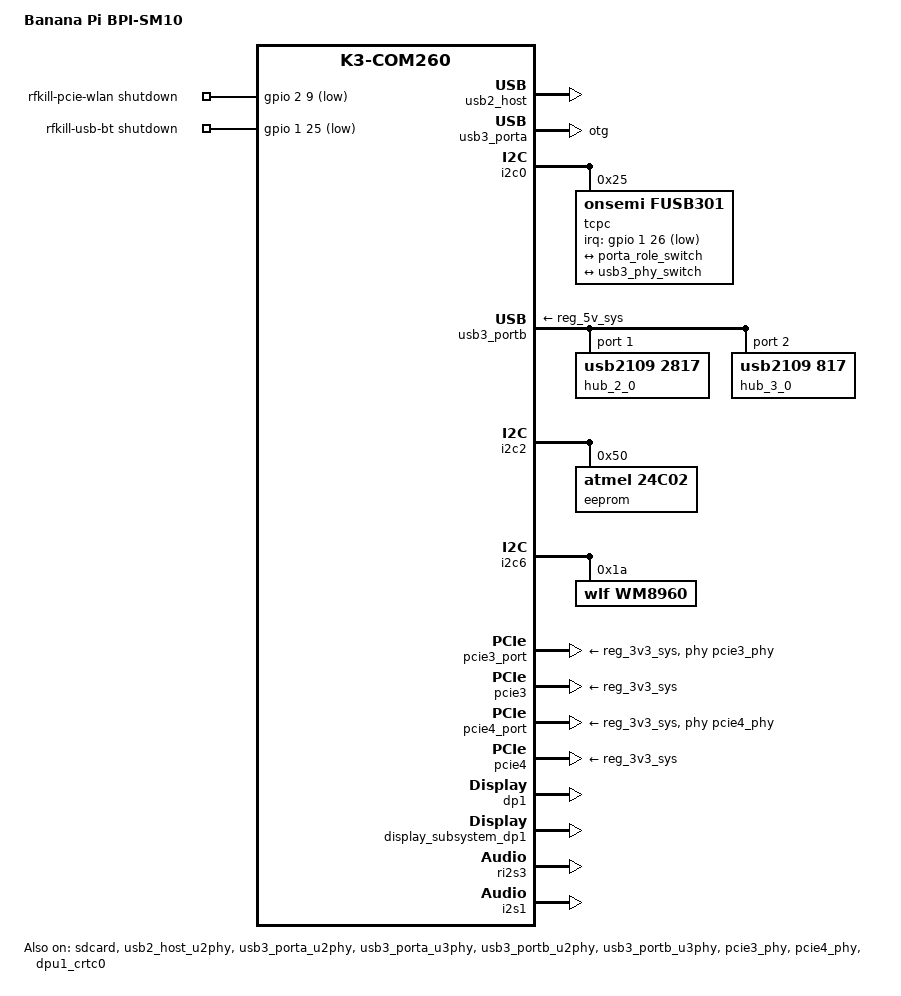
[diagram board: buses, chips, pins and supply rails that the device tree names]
// SPDX-License-Identifier: (GPL-2.0 OR MIT)
/*
 * Banana Pi BPI-SM10: K3-CoM260 module on the CoM260 kit V02 reference carrier.
 * Based on the SpacemiT linux-6.18 BSP k3_com260_kit_v02.dts.
 */

#include "k3-com260.dtsi"

/ {
	model = "Banana Pi BPI-SM10";
	compatible = "bananapi,bpi-sm10", "spacemit,k3-com260", "spacemit,k3";

	aliases {
		ethernet0 = &eth1;
		serial0 = &uart0;
	};

	chosen {
		stdout-path = "serial0:115200n8";
	};

	/* M.2 E-key W_DISABLE1#: RTL8852BE Wi-Fi on PCIe port E */
	rfkill-pcie-wlan {
		compatible = "rfkill-gpio";
		label = "rfkill-pcie-wlan";
		pinctrl-names = "default";
		pinctrl-0 = <&m2_wdis1_cfg>;
		radio-type = "wlan";
		shutdown-gpios = <&gpio 2 9 GPIO_ACTIVE_LOW>;
	};

	/* RTL8852BE Bluetooth reset (high = reset), on the USB2 host port */
	rfkill-usb-bt {
		compatible = "rfkill-gpio";
		label = "rfkill-usb-bt";
		pinctrl-names = "default";
		pinctrl-0 = <&bt_reset_cfg>;
		radio-type = "bluetooth";
		shutdown-gpios = <&gpio 1 25 GPIO_ACTIVE_LOW>;
	};
};

&pinctrl {
	fusb301_int_cfg: fusb301-int-cfg {
		fusb301-int-pins {
			pinmux = <K3_PADCONF(58, 0)>;

			bias-pull-up;
			drive-strength = <25>;
			power-source = <1800>;
		};
	};

	m2_wdis1_cfg: m2-wdis1-cfg {
		m2-wdis1-pins {
			pinmux = <K3_PADCONF(73, 0)>;

			bias-pull-up;
			drive-strength = <38>;
			power-source = <3300>;
		};
	};

	bt_reset_cfg: bt-reset-cfg {
		bt-reset-pins {
			pinmux = <K3_PADCONF(57, 0)>;

			bias-pull-up;
			drive-strength = <38>;
			power-source = <3300>;
		};
	};

	mmc1_cd_cfg: mmc1-cd-cfg {
		mmc1-cd-pins {
			pinmux = <K3_PADCONF(4, 0)>;

			bias-pull-up;
			drive-strength = <8>;
			power-source = <3300>;
		};
	};
};

&sdcard {
	pinctrl-names = "default", "uhs";
	pinctrl-0 = <&mmc1_cfg>, <&mmc1_cd_cfg>;
	pinctrl-1 = <&mmc1_uhs_cfg>, <&mmc1_cd_cfg>;
	bus-width = <4>;
	cd-gpios = <&gpio 0 4 GPIO_ACTIVE_HIGH>;
	vmmc-supply = <&reg_3v3_sys>;
	no-mmc;
	no-sdio;
	status = "okay";
};

/* M.2 E-key Bluetooth (USB 2.0 only) */
&usb2_host_u2phy {
	status = "okay";
};

&usb2_host {
	status = "okay";
};

/* USB-C (flashing, adb): FUSB301 on i2c0 picks the role and orientation */
&usb3_porta_u2phy {
	status = "okay";
};

&usb3_porta_u3phy {
	orientation-switch;
	status = "okay";

	port {
		usb3_phy_switch: endpoint {
			remote-endpoint = <&fusb301_sw_ep>;
		};
	};
};

&usb3_porta {
	dr_mode = "otg";
	usb-role-switch;
	role-switch-default-mode = "peripheral";
	status = "okay";
};

&porta_role_switch {
	remote-endpoint = <&fusb301_ep>;
};

&i2c0 {
	pinctrl-names = "default";
	pinctrl-0 = <&i2c0_0_cfg>;
	status = "okay";

	tcpc@25 {
		compatible = "onsemi,fusb301";
		reg = <0x25>;
		pinctrl-names = "default";
		pinctrl-0 = <&fusb301_int_cfg>;
		irq-gpios = <&gpio 1 26 GPIO_ACTIVE_LOW>;
		wakeup-source;

		connector {
			compatible = "usb-c-connector";
			label = "USB-C";
			data-role = "dual";
			power-role = "dual";
			try-power-role = "sink";
			typec-power-opmode = "default";
			pd-disable;

			ports {
				#address-cells = <1>;
				#size-cells = <0>;

				port@0 {
					reg = <0>;
					fusb301_ep: endpoint {
						remote-endpoint = <&porta_role_switch>;
					};
				};

				port@1 {
					reg = <1>;
					fusb301_sw_ep: endpoint {
						remote-endpoint = <&usb3_phy_switch>;
					};
				};
			};
		};
	};
};

/* 4x USB 3.0 Type-A behind the VL817 hub (reset is done by hardware) */
&usb3_portb_u2phy {
	status = "okay";
};

&usb3_portb_u3phy {
	status = "okay";
};

&usb3_portb {
	#address-cells = <1>;
	#size-cells = <0>;
	vbus-supply = <&reg_5v_sys>;
	status = "okay";

	hub_2_0: hub@1 {
		compatible = "usb2109,2817";
		reg = <1>;
		peer-hub = <&hub_3_0>;
	};

	hub_3_0: hub@2 {
		compatible = "usb2109,817";
		reg = <2>;
		peer-hub = <&hub_2_0>;
	};
};

/* Board EEPROM (ONIE TLV: product name, MAC address) */
&i2c2 {
	pinctrl-names = "default";
	pinctrl-0 = <&i2c2_1_cfg>;
	status = "okay";

	eeprom@50 {
		compatible = "atmel,24c02";
		reg = <0x50>;
		read-only;
	};
};

/* CTF2301 fan controller at 0x4c: no Linux driver, the fan runs at its default */
&i2c6 {
	pinctrl-names = "default";
	pinctrl-0 = <&i2c6_1_cfg>;
	status = "okay";
};

/* M.2 M-key 2230 slot on PCIe port D (x1); the x4 port A slot needs two-PHY support */
&pcie3_phy {
	status = "okay";
};

&pcie3_port {
	phys = <&pcie3_phy>;
	vpcie3v3-supply = <&reg_3v3_sys>;
};

&pcie3 {
	pinctrl-names = "default";
	pinctrl-0 = <&pcie3_0_cfg>;
	vpcie3v3-supply = <&reg_3v3_sys>;
	status = "okay";
};

/* M.2 E-key RTL8852BE Wi-Fi on PCIe port E (x1) */
&pcie4_phy {
	status = "okay";
};

&pcie4_port {
	phys = <&pcie4_phy>;
	vpcie3v3-supply = <&reg_3v3_sys>;
};

&pcie4 {
	pinctrl-names = "default";
	pinctrl-0 = <&pcie4_1_cfg>;
	vpcie3v3-supply = <&reg_3v3_sys>;
	status = "okay";
};

/* DisplayPort 1.2 connector: DPU1 -> DP1; no eDP panel on this carrier */
&dpu1_crtc0 {
	memory-region = <&dpu_resv1>;
	status = "okay";
};

&dp1 {
	pinctrl-names = "default";
	pinctrl-0 = <&dp1_3_cfg>;
	status = "okay";
};

&display_subsystem_dp1 {
	status = "okay";
};

/* Audio over DisplayPort, the only on-board audio output (no codec on the carrier) */
&adma3 {
	status = "okay";
};

&ri2s3 {
	status = "okay";
};

&sound_card_dp1 {
	status = "okay";
};

/*
 * WM8960 Audio HAT (Waveshare, 40-pin): the first real codec on this carrier
 * (speaker/headphone/mic). SCAFFOLD on i2s1 (sspa1) + I2C6, build-validated but
 * NOT yet matched to the physical header. Reconcile on the board:
 *   - DAI: the SM10 header I2S pins (12/35/38/40) are labelled I2S0, i.e. sspa0;
 *     k3.dtsi has no i2s0/sspa0 node, so the real wiring likely needs one added
 *     and this block re-pointed from &i2s1 to it.
 *   - I2C: pins 3/5 (SDA/SCL) -> confirm which K3 bus (0x1a is the WM8960 addr).
 *   - Clock: the HAT has its own crystal (no MCLK from the SoC), so mclk-fs/PLL
 *     may be wrong; confirm WM8960 master/slave and drop mclk-fs if self-clocked.
 * Skip pin 11 (HAT button = UART1_RTS on SM10). The output-mixer/input routes
 * default off and are enabled at boot by init.wm8960.rc (device/spacemit/k3/audio).
 */
&i2s1 {
	pinctrl-names = "default";
	pinctrl-0 = <&sspa1_1_cfg>;
	status = "okay";
};

&i2c6 {
	wm8960: wm8960@1a {
		compatible = "wlf,wm8960";
		reg = <0x1a>;
		#sound-dai-cells = <0>;
		wlf,shared-lrclk;
	};
};

&sound_card1 {
	status = "okay";
	simple-audio-card,name = "snd-wm8960";
	simple-audio-card,mclk-fs = <256>;
	simple-audio-card,widgets =
		"Headphone", "Headphone Jack",
		"Speaker", "Speaker",
		"Microphone", "Mic Jack";
	simple-audio-card,routing =
		"Headphone Jack", "HP_L",
		"Headphone Jack", "HP_R",
		"Speaker", "SPK_LP",
		"Speaker", "SPK_LN",
		"Speaker", "SPK_RP",
		"Speaker", "SPK_RN",
		"LINPUT1", "Mic Jack",
		"RINPUT1", "Mic Jack";

	simple-audio-card,dai-link@0 {
		format = "i2s";
		frame-master = <&wm8960_cpu>;
		bitclock-master = <&wm8960_cpu>;

		wm8960_cpu: cpu {
			sound-dai = <&i2s1>;
		};

		codec {
			sound-dai = <&wm8960>;
		};
	};
};
